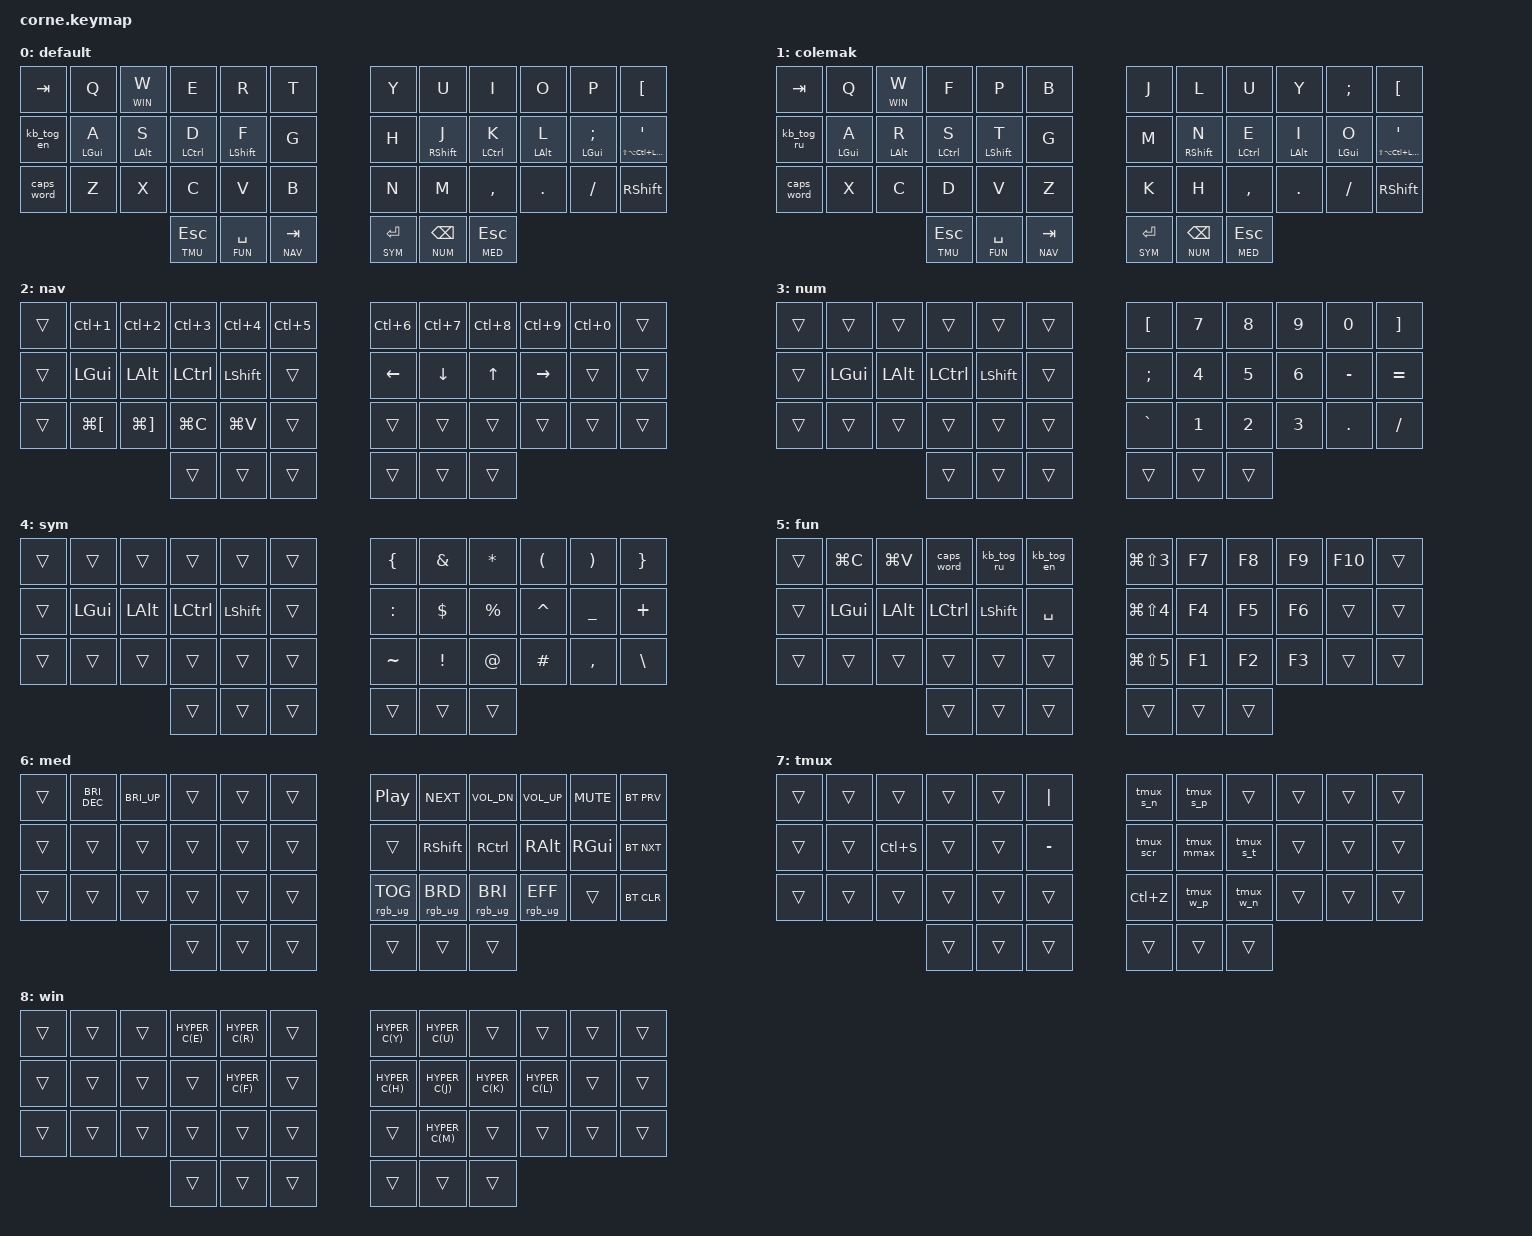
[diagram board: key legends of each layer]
/*
 * Copyright (c) 2020 The ZMK Contributors
 *
 * SPDX-License-Identifier: MIT
 */
#include <behaviors.dtsi>
#include <dt-bindings/zmk/bt.h>
#include <dt-bindings/zmk/keys.h>
#include <dt-bindings/zmk/rgb.h>

#include "keypos.h"
#include "keys.dtsi"
#include "helper.h"

// Delays
#define QUICK_TAP_MS 175

&led_strip {
    chain-length = <54>;
};

&caps_word {
    continue-list = <UNDER BSPC DELETE LALT RALT LGUI RGUI>;
};

&sk {  // sticky-key config
    release-after-ms = <900>;  // release after 0.6s
    quick-release;             // no double capitalization when rolling keys
};

&sl {  // sticky-layer config
    ignore-modifiers;          // allow chording sticky mods & layers
};

&lt {  // layer-tap config
    flavor = "balanced";
    tapping-term-ms = <200>;
    quick-tap-ms = <QUICK_TAP_MS>;
};

// Layers shortcuts
#define DEF 0
#define COL 1
#define NAV 2
#define NUM 3
#define SYM 4
#define FUN 5
#define MED 6
#define TMU 7
#define WIN 8

// Custom keys
#define U_CP LG(C)
#define U_CU LG(X)
#define U_PA LG(V)
#define U_UN LG(Z)
#define U_RE LS(LG(Z))
#define PS_F LG(LS(N3))
#define PS_P LG(LS(N4))
#define PS_R LG(LS(N5))
#define HYPER LS(LA(LC(LEFT_GUI)))
#define ______ &trans

#define HYPER_C(key) \
  LS(LA(LC(LG(key))))

#include "hmr.dtsi"
#include "combos.dtsi"
#include "macros.dtsi"

ZMK_LAYER(default,
// ╭─────────────┬───────────────┬───────────────┬────────────────┬────────────────┬────────────────╮   ╭───────────────┬─────────────────┬────────────────┬────────────────┬──────────────────┬────────────────╮
     &kp TAB       &kp Q           &lt WIN W       &kp E            &kp R            &kp T                &kp Y           &kp U             &kp I            &kp O            &kp P              &kp LBKT
// ├─────────────┼───────────────┼───────────────┼────────────────┼────────────────┼────────────────┤   ├───────────────┼─────────────────┼────────────────┼────────────────┼──────────────────┼────────────────┤
     &kb_tog_en    &hmr_l LGUI A   &hmr_l LALT S   &hmr_l LCTRL D   &hmr_l LSHFT F   &kp G                &kp H           &hmr_r RSHIFT J   &hmr_r LCTRL K   &hmr_r LALT L    &hmr_r LGUI SEMI   &hmr_r HYPER SQT
// ├─────────────┼───────────────┼───────────────┼────────────────┼────────────────┼────────────────┤   ├───────────────┼─────────────────┼────────────────┼────────────────┼──────────────────┼────────────────┤
     &caps_word    &kp Z           &kp X           &kp C            &kp V            &kp B                &kp N           &kp M             &kp COMMA        &kp DOT          &kp FSLH           &kp RSHIFT
// ╰─────────────┼───────────────┼───────────────┼────────────────┼────────────────┼────────────────┤   ├───────────────┼─────────────────┼────────────────┼────────────────┼──────────────────┼────────────────╯
                                                   &lt TMU ESC      &lt FUN SPACE    &lt NAV TAB          &lt SYM ENTER   &lt NUM BSPC      &lt MED ESC
//                                               ╰────────────────┴────────────────┴────────────────╯   ╰───────────────┴─────────────────┴────────────────╯
)

ZMK_LAYER(colemak,
// ╭─────────────┬───────────────┬───────────────┬────────────────┬────────────────┬────────────────╮   ╭───────────────┬─────────────────┬────────────────┬────────────────┬──────────────────┬────────────────╮
     &kp TAB       &kp Q           &lt WIN W       &kp F            &kp P            &kp B                &kp J           &kp L             &kp U            &kp Y            &kp SEMI           &kp LBKT
// ├─────────────┼───────────────┼───────────────┼────────────────┼────────────────┼────────────────┤   ├───────────────┼─────────────────┼────────────────┼────────────────┼──────────────────┼────────────────┤
     &kb_tog_ru    &hmr_l LGUI A   &hmr_l LALT R   &hmr_l LCTRL S   &hmr_l LSHFT T   &kp G                &kp M           &hmr_r RSHIFT N   &hmr_r LCTRL E   &hmr_r LALT I    &hmr_r LGUI O      &hmr_r HYPER SQT
// ├─────────────┼───────────────┼───────────────┼────────────────┼────────────────┼────────────────┤   ├───────────────┼─────────────────┼────────────────┼────────────────┼──────────────────┼────────────────┤
     &caps_word    &kp X           &kp C           &kp D            &kp V            &kp Z                &kp K           &kp H             &kp COMMA        &kp DOT          &kp FSLH           &kp RSHIFT
// ╰─────────────┼───────────────┼───────────────┼────────────────┼────────────────┼────────────────┤   ├───────────────┼─────────────────┼────────────────┼────────────────┼──────────────────┼────────────────╯
                                                   &lt TMU ESC      &lt FUN SPACE    &lt NAV TAB          &lt SYM ENTER   &lt NUM BSPC      &lt MED ESC
//                                               ╰────────────────┴────────────────┴────────────────╯   ╰───────────────┴─────────────────┴────────────────╯
)

ZMK_LAYER(nav,
// ╭─────────────┬───────────────┬───────────────┬────────────────┬────────────────┬────────────────╮   ╭───────────────┬─────────────────┬────────────────┬────────────────┬──────────────────┬────────────────╮
     ______        &kp LC(N1)      &kp LC(N2)      &kp LC(N3)       &kp LC(N4)       &kp LC(N5)           &kp LC(N6)      &kp LC(N7)        &kp LC(N8)       &kp LC(N9)       &kp LC(N0)         ______
// ├─────────────┼───────────────┼───────────────┼────────────────┼────────────────┼────────────────┤   ├───────────────┼─────────────────┼────────────────┼────────────────┼──────────────────┼────────────────┤
     ______        &kp LGUI        &kp LALT        &kp LCTRL        &kp LSHFT        ______               &kp LEFT        &kp DOWN          &kp UP           &kp RIGHT        ______             ______
// ├─────────────┼───────────────┼───────────────┼────────────────┼────────────────┼────────────────┤   ├───────────────┼─────────────────┼────────────────┼────────────────┼──────────────────┼────────────────┤
     ______        &kp LG(LBKT)    &kp LG(RBKT)    &kp U_CP         &kp U_PA         ______               ______          ______            ______           ______           ______             ______
// ╰─────────────┼───────────────┼───────────────┼────────────────┼────────────────┼────────────────┤   ├───────────────┼─────────────────┼────────────────┼────────────────┼──────────────────┼────────────────╯
                                                   ______           ______           ______               ______          ______            ______
//                                               ╰────────────────┴────────────────┴────────────────╯   ╰───────────────┴─────────────────┴────────────────╯
)

ZMK_LAYER(num,
// ╭─────────────┬───────────────┬───────────────┬────────────────┬────────────────┬────────────────╮   ╭───────────────┬─────────────────┬────────────────┬────────────────┬──────────────────┬────────────────╮
     ______        ______          ______          ______           ______           ______               &kp LBKT        &kp N7            &kp N8           &kp N9           &kp N0             &kp RBKT
// ├─────────────┼───────────────┼───────────────┼────────────────┼────────────────┼────────────────┤   ├───────────────┼─────────────────┼────────────────┼────────────────┼──────────────────┼────────────────┤
     ______        &kp LGUI        &kp LALT        &kp LCTRL        &kp LSHFT        ______               &kp SEMI        &kp N4            &kp N5           &kp N6           &kp MINUS          &kp EQUAL
// ├─────────────┼───────────────┼───────────────┼────────────────┼────────────────┼────────────────┤   ├───────────────┼─────────────────┼────────────────┼────────────────┼──────────────────┼────────────────┤
     ______        ______          ______          ______           ______           ______               &kp GRAVE       &kp N1            &kp N2           &kp N3           &kp DOT            &kp FSLH
// ╰─────────────┼───────────────┼───────────────┼────────────────┼────────────────┼────────────────┤   ├───────────────┼─────────────────┼────────────────┼────────────────┼──────────────────┼────────────────╯
                                                   ______           ______           ______               ______          ______            ______
//                                               ╰────────────────┴────────────────┴────────────────╯   ╰───────────────┴─────────────────┴────────────────╯
)

ZMK_LAYER(sym,
// ╭─────────────┬───────────────┬───────────────┬────────────────┬────────────────┬────────────────╮   ╭───────────────┬─────────────────┬────────────────┬────────────────┬──────────────────┬────────────────╮
     ______        ______          ______          ______           ______           ______               &kp LBRC        &kp AMPS          &kp STAR         &kp LPAR         &kp RPAR           &kp RBRC
// ├─────────────┼───────────────┼───────────────┼────────────────┼────────────────┼────────────────┤   ├───────────────┼─────────────────┼────────────────┼────────────────┼──────────────────┼────────────────┤
     ______        &kp LGUI        &kp LALT        &kp LCTRL        &kp LSHFT        ______               &kp COLON       &kp DLLR          &kp PRCNT        &kp CARET        &kp UNDER          &kp PLUS
// ├─────────────┼───────────────┼───────────────┼────────────────┼────────────────┼────────────────┤   ├───────────────┼─────────────────┼────────────────┼────────────────┼──────────────────┼────────────────┤
     ______        ______          ______          ______           ______           ______               &kp TILDE       &kp EXCL          &kp AT           &kp HASH         &kp COMMA          &kp BSLH
// ╰─────────────┼───────────────┼───────────────┼────────────────┼────────────────┼────────────────┤   ├───────────────┼─────────────────┼────────────────┼────────────────┼──────────────────┼────────────────╯
                                                   ______           ______           ______               ______          ______            ______
//                                               ╰────────────────┴────────────────┴────────────────╯   ╰───────────────┴─────────────────┴────────────────╯
)

ZMK_LAYER(fun,
// ╭─────────────┬───────────────┬───────────────┬────────────────┬────────────────┬────────────────╮   ╭───────────────┬─────────────────┬────────────────┬────────────────┬──────────────────┬────────────────╮
     ______        &kp U_CP        &kp U_PA        &caps_word       &kb_tog_ru       &kb_tog_en           &kp PS_F        &kp F7            &kp F8           &kp F9           &kp F10            ______
// ├─────────────┼───────────────┼───────────────┼────────────────┼────────────────┼────────────────┤   ├───────────────┼─────────────────┼────────────────┼────────────────┼──────────────────┼────────────────┤
     ______        &kp LGUI        &kp LALT        &kp LCTRL        &kp LSHFT        &kp SPACE            &kp PS_P        &kp F4            &kp F5           &kp F6           ______             ______
// ├─────────────┼───────────────┼───────────────┼────────────────┼────────────────┼────────────────┤   ├───────────────┼─────────────────┼────────────────┼────────────────┼──────────────────┼────────────────┤
     ______        ______          ______          ______           ______           ______               &kp PS_R        &kp F1            &kp F2           &kp F3           ______             ______
// ╰─────────────┼───────────────┼───────────────┼────────────────┼────────────────┼────────────────┤   ├───────────────┼─────────────────┼────────────────┼────────────────┼──────────────────┼────────────────╯
                                                   ______           ______           ______               ______          ______            ______
//                                               ╰────────────────┴────────────────┴────────────────╯   ╰───────────────┴─────────────────┴────────────────╯
)

ZMK_LAYER(med,
// ╭─────────────┬───────────────┬───────────────┬────────────────┬────────────────┬────────────────╮   ╭───────────────┬─────────────────┬────────────────┬────────────────┬──────────────────┬────────────────╮
     ______        &kp C_BRI_DEC   &kp C_BRI_UP    ______           ______           ______               &kp C_PP        &kp C_NEXT        &kp C_VOL_DN     &kp C_VOL_UP     &kp K_MUTE         &bt BT_PRV
// ├─────────────┼───────────────┼───────────────┼────────────────┼────────────────┼────────────────┤   ├───────────────┼─────────────────┼────────────────┼────────────────┼──────────────────┼────────────────┤
     ______        ______          ______          ______           ______           ______               ______          &kp RSHIFT        &kp RCTRL        &kp RALT         &kp RGUI           &bt BT_NXT
// ├─────────────┼───────────────┼───────────────┼────────────────┼────────────────┼────────────────┤   ├───────────────┼─────────────────┼────────────────┼────────────────┼──────────────────┼────────────────┤
     ______        ______          ______          ______           ______           ______               &rgb_ug RGB_TOG &rgb_ug RGB_BRD   &rgb_ug RGB_BRI  &rgb_ug RGB_EFF  ______             &bt BT_CLR
// ╰─────────────┼───────────────┼───────────────┼────────────────┼────────────────┼────────────────┤   ├───────────────┼─────────────────┼────────────────┼────────────────┼──────────────────┼────────────────╯
                                                   ______           ______           ______               ______          ______            ______
//                                               ╰────────────────┴────────────────┴────────────────╯   ╰───────────────┴─────────────────┴────────────────╯
)

ZMK_LAYER(tmux,
// ╭─────────────┬───────────────┬───────────────┬────────────────┬────────────────┬────────────────╮   ╭───────────────┬─────────────────┬────────────────┬────────────────┬──────────────────┬────────────────╮
     ______        ______          ______          ______           ______           &kp PIPE             &tmux_s_n       &tmux_s_p         ______           ______           ______             ______
// ├─────────────┼───────────────┼───────────────┼────────────────┼────────────────┼────────────────┤   ├───────────────┼─────────────────┼────────────────┼────────────────┼──────────────────┼────────────────┤
     ______        ______          &kp LC(S)       ______           ______           &kp MINUS            &tmux_scr       &tmux_mmax        &tmux_s_t        ______           ______             ______
// ├─────────────┼───────────────┼───────────────┼────────────────┼────────────────┼────────────────┤   ├───────────────┼─────────────────┼────────────────┼────────────────┼──────────────────┼────────────────┤
     ______        ______          ______          ______           ______           ______               &kp LC(Z)       &tmux_w_p         &tmux_w_n        ______           ______             ______
// ╰─────────────┼───────────────┼───────────────┼────────────────┼────────────────┼────────────────┤   ├───────────────┼─────────────────┼────────────────┼────────────────┼──────────────────┼────────────────╯
                                                   ______           ______           ______               ______          ______            ______
//                                               ╰────────────────┴────────────────┴────────────────╯   ╰───────────────┴─────────────────┴────────────────╯
)

ZMK_LAYER(win,
// ╭─────────────┬───────────────┬───────────────┬────────────────┬────────────────┬────────────────╮   ╭───────────────┬─────────────────┬────────────────┬────────────────┬──────────────────┬────────────────╮
     ______        ______          ______          &kp HYPER_C(E)   &kp HYPER_C(R)     ______             &kp HYPER_C(Y)  &kp HYPER_C(U)      ______           ______           ______             ______
// ├─────────────┼───────────────┼───────────────┼────────────────┼────────────────┼────────────────┤   ├───────────────┼─────────────────┼────────────────┼────────────────┼──────────────────┼────────────────┤
     ______        ______          ______          ______           &kp HYPER_C(F)   ______               &kp HYPER_C(H)  &kp HYPER_C(J)    &kp HYPER_C(K)   &kp HYPER_C(L)    ______             ______
// ├─────────────┼───────────────┼───────────────┼────────────────┼────────────────┼────────────────┤   ├───────────────┼─────────────────┼────────────────┼────────────────┼──────────────────┼────────────────┤
     ______        ______          ______          ______           ______           ______               ______          &kp HYPER_C(M)      ______           ______           ______             ______
// ╰─────────────┼───────────────┼───────────────┼────────────────┼────────────────┼────────────────┤   ├───────────────┼─────────────────┼────────────────┼────────────────┼──────────────────┼────────────────╯
                                                   ______           ______           ______               ______          ______            ______
//                                               ╰────────────────┴────────────────┴────────────────╯   ╰───────────────┴─────────────────┴────────────────╯
)

